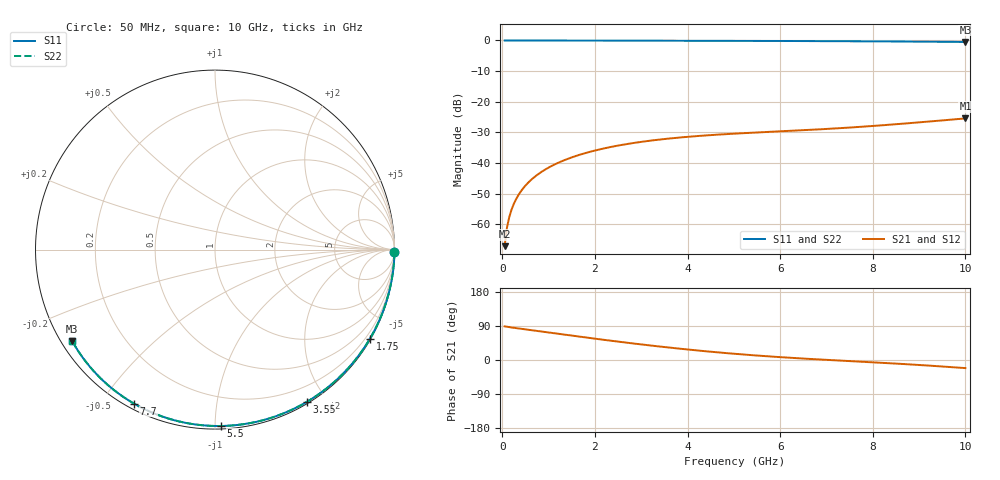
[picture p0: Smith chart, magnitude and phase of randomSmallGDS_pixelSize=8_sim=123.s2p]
! freq	dB(S11)	phase(S11)	dB(S12)	phase(S12)
!  dB(S21)	phase(S21)	dB(S22)	phase(S22)
!S-par simulation data
#  GHz  S  DB  R 50
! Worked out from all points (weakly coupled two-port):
!   200 points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, 50 MHz to 10 GHz, reference 50 ohm
!   highest |S21| = -25.45 dB at 10 GHz (marker M1); lowest = -67.2 dB at 50 MHz (marker M2)
!   lowest |S11| = -0.5 dB at 10 GHz (marker M3), VSWR 35.25, Z = 1.54 - j14.6 ohm
!   |S11| at or under -10 dB: nowhere
!   |S22| runs from -0.5 to 0.0 dB; largest |S21 - S12| = 0
!   S11 on the Smith chart (normalised r, x): 50 MHz: open; 1.75 GHz: 0.03, -3.74; 3.55 GHz: 0.02, -1.77; 5.5 GHz: 0.02, -1.04; 7.7 GHz: 0.02, -0.60; 10 GHz: 0.03, -0.29
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0.05  -0.00 -0.9  -67.16 88.8  -67.16 88.8  -0.00 -0.9
0.1  -0.00 -1.7  -61.17 87.7  -61.17 87.7  -0.00 -1.7
0.15  -0.00 -2.6  -57.68 86.7  -57.68 86.7  -0.00 -2.6
0.2  -0.00 -3.5  -55.22 85.8  -55.22 85.8  -0.00 -3.5
0.25  -0.00 -4.4  -53.31 84.9  -53.31 84.9  -0.00 -4.4
0.35  -0.00 -6.1  -50.43 83.3  -50.43 83.3  -0.00 -6.1
0.5  -0.01 -8.7  -47.38 80.8  -47.38 80.8  -0.01 -8.7
0.7  -0.01 -12.1  -44.51 77.5  -44.51 77.5  -0.01 -12.1
1  -0.02 -17.2  -41.50 72.5  -41.50 72.5  -0.02 -17.3
1.35  -0.03 -23.2  -39.03 66.8  -39.03 66.8  -0.03 -23.2
1.75  -0.04 -29.9  -36.96 60.2  -36.96 60.2  -0.04 -29.9
2.5  -0.06 -42.3  -34.32 48.5  -34.32 48.5  -0.06 -42.3
3.4  -0.08 -56.7  -32.35 35.5  -32.35 35.5  -0.08 -56.7
3.55  -0.08 -59.0  -32.10 33.5  -32.10 33.5  -0.08 -59.0
4.3  -0.10 -70.5  -31.11 24.1  -31.11 24.1  -0.10 -70.5
5.05  -0.13 -81.5  -30.39 16.0  -30.39 16.0  -0.13 -81.6
5.5  -0.15 -88.0  -30.04 11.8  -30.04 11.8  -0.15 -88.0
6.7  -0.20 -104.6  -29.14 2.4  -29.14 2.4  -0.20 -104.6
7.7  -0.27 -117.8  -28.24 -4.1  -28.24 -4.1  -0.27 -117.8
8.35  -0.32 -126.2  -27.53 -8.4  -27.53 -8.4  -0.32 -126.2
9.2  -0.40 -137.1  -26.49 -14.7  -26.49 -14.7  -0.40 -137.1
10  -0.49 -147.4  -25.45 -21.4  -25.45 -21.4  -0.49 -147.4
